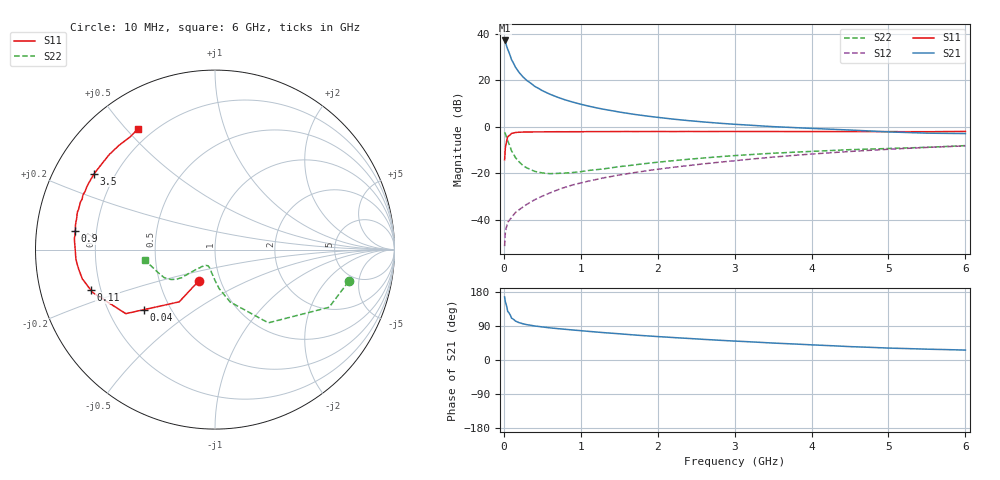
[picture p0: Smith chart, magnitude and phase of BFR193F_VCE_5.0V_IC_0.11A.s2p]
! Infineon Technologies  Discrete & RF Semiconductors
! BFR193F
! VCE =  5.0 V,  IC = 0.11 A
! Common Emitter S-Parameters:  Jan 2017
# GHz  S  MA  R  50
!  f  S11  S21  S12  S22
! GHz  MAG  ANG  MAG  ANG  MAG  ANG  MAG  ANG
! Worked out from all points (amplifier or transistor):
!   77 points, 10 MHz to 6 GHz, reference 50 ohm
!   highest |S21| = 37.2 dB at 10 MHz (marker M1)
!   |S21| within 3 dB of that: start of sweep to 41.86 MHz
!   unconditionally stable (mu >= 1): 324.5 MHz to 2.978 GHz
!   at 130 MHz: K = 0.73, MSG = 32.4 dB, |S12| = -37.7 dB
!   at 2.2 GHz: K = 1.07, MAG = 8.8 dB, |S12| = -17.4 dB
!   at 6 GHz: K = 0.90, MSG = 2.7 dB, |S12| = -8.2 dB
!   S11 on the Smith chart (normalised r, x): 10 MHz: 0.79, -0.28; 40 MHz: 0.35, -0.32; 110 MHz: 0.16, -0.15; 900 MHz: 0.12, +0.06; 3.5 GHz: 0.12, +0.28; 6 GHz: 0.15, +0.54
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0.01  0.1953 -117.4  72.47 166.4  0.0027 83.2  0.7653 -13.4
0.02  0.3526 -124.4  67.09 153.4  0.0055 69.7  0.7125 -26.8
0.04  0.5199 -139.9  52.38 138.8  0.0076 56.6  0.5586 -42.7
0.05  0.6117 -144.3  46.88 128.4  0.0088 52.5  0.5049 -53.9
0.1  0.7224 -160.7  27.93 110.5  0.0111 50.3  0.3046 -73.8
0.11  0.7285 -162.1  26.19 109.4  0.0117 52.0  0.2868 -75.3
0.15  0.7572 -167.6  19.37 102.9  0.0143 57.3  0.2187 -83.9
0.2  0.7665 -171.5  14.73 98.4  0.0165 59.9  0.1757 -89.4
0.25  0.773 -174.3  11.85 95.5  0.0189 61.8  0.1456 -94.5
0.3  0.7767 -176.1  9.945 93.2  0.0215 64.9  0.1306 -98.3
0.4  0.7781 -179.1  7.484 89.7  0.0269 69.8  0.1102 -104.3
0.5  0.7803 178.9  6.018 87.2  0.0322 72.2  0.102 -108.9
0.7  0.7861 175.3  4.334 82.8  0.0441 74.9  0.0996 -116.3
0.9  0.7873 172.5  3.397 79.1  0.0565 77.0  0.1043 -122.3
1.1  0.7893 170.2  2.8 75.6  0.0679 78.0  0.1151 -125.8
1.6  0.7946 164.7  1.965 67.6  0.0977 78.2  0.1448 -132.9
2.1  0.7939 160.1  1.535 60.6  0.1283 77.7  0.1801 -136.2
3.1  0.7949 151.4  1.111 49.0  0.1936 75.3  0.2465 -140.3
3.5  0.7948 147.8  1.011 44.7  0.2232 73.8  0.2707 -142.4
4.1  0.7909 141.9  0.912 39.1  0.2666 70.4  0.3014 -146.9
5.1  0.7883 131.5  0.769 30.9  0.3355 63.6  0.3464 -159.6
6  0.7977 122.7  0.717 26.2  0.389 57.2  0.3948 -171.4
